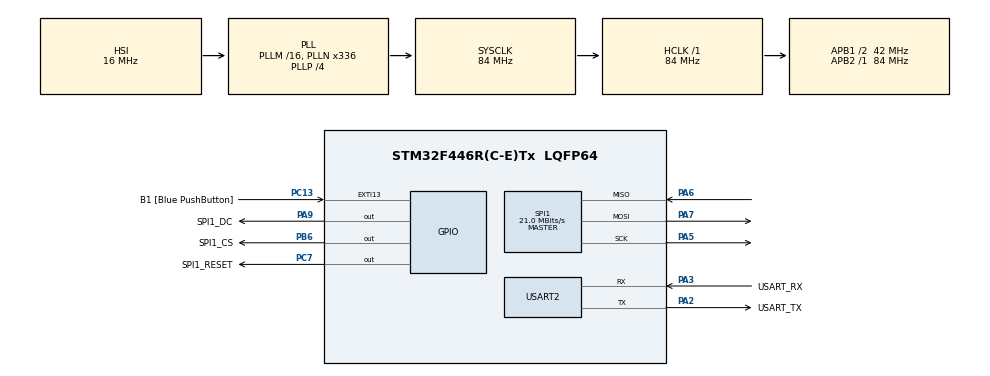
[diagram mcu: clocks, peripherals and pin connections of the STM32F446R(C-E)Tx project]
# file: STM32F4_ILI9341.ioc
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Dma.Request0=SPI1_TX
Dma.SPI1_TX.0.Direction=DMA_MEMORY_TO_PERIPH
Dma.SPI1_TX.0.FIFOMode=DMA_FIFOMODE_DISABLE
Dma.SPI1_TX.0.Instance=DMA2_Stream3
Dma.SPI1_TX.0.MemDataAlignment=DMA_MDATAALIGN_BYTE
Dma.SPI1_TX.0.MemInc=DMA_MINC_ENABLE
Dma.SPI1_TX.0.Mode=DMA_NORMAL
Dma.SPI1_TX.0.PeriphDataAlignment=DMA_PDATAALIGN_BYTE
Dma.SPI1_TX.0.PeriphInc=DMA_PINC_DISABLE
Dma.SPI1_TX.0.Priority=DMA_PRIORITY_VERY_HIGH
Mcu.Family=STM32F4
Mcu.Name=STM32F446R(C-E)Tx
Mcu.Package=LQFP64
NVIC.DMA2_Stream3_IRQn=true\:0\:0\:false\:false\:true\:false\:true\:true
NVIC.PriorityGroup=NVIC_PRIORITYGROUP_0
PA13.GPIO_Label=TMS
PA13.Mode=Serial_Wire
PA13.Signal=SYS_JTMS-SWDIO
PA14.GPIO_Label=TCK
PA14.Mode=Serial_Wire
PA14.Signal=SYS_JTCK-SWCLK
PA2.GPIO_Label=USART_TX
PA2.Mode=Asynchronous
PA2.Signal=USART2_TX
PA3.GPIO_Label=USART_RX
PA3.Mode=Asynchronous
PA3.Signal=USART2_RX
PA5.Mode=Full_Duplex_Master
PA5.Signal=SPI1_SCK
PA6.Mode=Full_Duplex_Master
PA6.Signal=SPI1_MISO
PA7.Mode=Full_Duplex_Master
PA7.Signal=SPI1_MOSI
PA9.GPIO_Label=SPI1_DC
PA9.Signal=GPIO_Output
PB3.GPIO_Label=SWO
PB3.Signal=SYS_JTDO-SWO
PB6.GPIO_Label=SPI1_CS
PB6.Signal=GPIO_Output
PC13.GPIO_Label=B1 [Blue PushButton]
PC13.GPIO_ModeDefaultEXTI=GPIO_MODE_IT_FALLING
PC13.Signal=GPXTI13
PC14-OSC32_IN.Mode=LSE-External-Oscillator
PC14-OSC32_IN.Signal=RCC_OSC32_IN
PC15-OSC32_OUT.Mode=LSE-External-Oscillator
PC15-OSC32_OUT.Signal=RCC_OSC32_OUT
PC7.GPIO_Label=SPI1_RESET
PC7.Signal=GPIO_Output
PH0-OSC_IN.Mode=HSE-External-Oscillator
PH0-OSC_IN.Signal=RCC_OSC_IN
PH1-OSC_OUT.Mode=HSE-External-Oscillator
PH1-OSC_OUT.Signal=RCC_OSC_OUT
ProjectManager.HeapSize=0x200
ProjectManager.StackSize=0x400
ProjectManager.TargetToolchain=STM32CubeIDE
RCC.48MHZClocksFreq_Value=84000000
RCC.AHBFreq_Value=84000000
RCC.APB1CLKDivider=RCC_HCLK_DIV2
RCC.APB1Freq_Value=42000000
RCC.APB1TimFreq_Value=84000000
RCC.APB2Freq_Value=84000000
RCC.APB2TimFreq_Value=84000000
RCC.CortexFreq_Value=84000000
RCC.FLatency-AdvancedSettings=FLASH_LATENCY_2
RCC.HCLKFreq_Value=84000000
RCC.HSE_VALUE=8000000
RCC.HSI_VALUE=16000000
RCC.PLLN=336
RCC.PLLP=RCC_PLLP_DIV4
RCC.SYSCLKFreq_VALUE=84000000
RCC.SYSCLKSource=RCC_SYSCLKSOURCE_PLLCLK
RCC.USBFreq_Value=168000000
RCC.VCOOutputFreq_Value=336000000
SPI1.BaudRatePrescaler=SPI_BAUDRATEPRESCALER_4
SPI1.CalculateBaudRate=21.0 MBits/s
SPI1.Direction=SPI_DIRECTION_2LINES
SPI1.Mode=SPI_MODE_MASTER
SPI1.VirtualType=VM_MASTER
USART2.VirtualMode=VM_ASYNC
board=NUCLEO-F446RE

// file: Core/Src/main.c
/* USER CODE BEGIN Header */
/**
  ******************************************************************************
  * @file           : main.c
  * @brief          : Main program body
  ******************************************************************************
  * @attention
  *
  * Copyright (c) 2023 STMicroelectronics.
  * All rights reserved.
  *
  * This software is licensed under terms that can be found in the LICENSE file
  * in the root directory of this software component.
  * If no LICENSE file comes with this software, it is provided AS-IS.
  *
  ******************************************************************************
  */
/* USER CODE END Header */
#include "main.h"
#include "dma.h"
#include "spi.h"
#include "usart.h"
#include "gpio.h"

/* USER CODE BEGIN Includes */
#include <stdio.h>
#include "graphics.h"
#include "touch.h"
/* USER CODE END Includes */

void SystemClock_Config(void);

int main(void)
{
  /* USER CODE BEGIN 1 */
//uint16_t x, y;
  /* USER CODE END 1 */

  /* MCU Configuration--------------------------------------------------------*/

  /* Reset of all peripherals, Initializes the Flash interface and the Systick. */
  HAL_Init();

  /* Configure the system clock */
  SystemClock_Config();

  /* Initialize all configured peripherals */
  MX_GPIO_Init();
  MX_DMA_Init();
  MX_USART2_UART_Init();
  MX_SPI1_Init();
  /* USER CODE BEGIN 2 */
  GraphicsInit();
//  TouchCalibrate();
  GraphicsClear(WHITE);
  /* USER CODE END 2 */

  /* Infinite loop */
  while (1)
  {

    /* USER CODE BEGIN 3 */
	  GraphicsLargeCharacter(0, 150, 'L', BLACK);
	  GraphicsLargeCharacter(10, 150, 'a', BLACK);
	  GraphicsLargeCharacter(20, 150, 'm', BLACK);
	  GraphicsLargeCharacter(30, 150, 'Q', BLACK);
	  GraphicsLargeCharacter(40, 150, 'u', BLACK);
	  GraphicsLargeCharacter(50, 150, 'a', BLACK);
	  GraphicsLargeCharacter(60, 150, 'n', BLACK);
	  GraphicsLargeCharacter(70, 150, 'g', BLACK);
	  GraphicsLargeCharacter(80, 150, 'T', BLACK);
	  GraphicsLargeCharacter(90, 150, 'r', BLACK);
	  GraphicsLargeCharacter(100, 150, 'i', BLACK);
	  GraphicsLargeString(0, 100, "Lam Quang Tri", BLACK);
//	  GraphicsFilledRectangle(50, 200, 50, 15, BLACK);

//		if (TouchIsTouched())
//		{
//		  GraphicsLargeString(50, 200, "Down", YELLOW);
//		}
//		else
//		{
//		  GraphicsLargeString(50, 200, "Up", YELLOW);
//		}
//
//		if (TouchGetCalibratedPoint(&x, &y))
//		{
//			if(x >=0 && x<=120 && y>=0 && y<=15)
//			{
//				GraphicsClear(BLUE);
//			}
//
//			char buf[20];
//			sprintf(buf, "%hd %hd", x, y);
//			GraphicsFilledRectangle(0, 0, 120, 15, BLACK);
//			GraphicsLargeString(0, 0, buf, YELLOW);
//			GraphicsFilledCircle(x, y, 3, YELLOW);
//		}
  }
  /* USER CODE END 3 */
}

void SystemClock_Config(void)
{
  RCC_OscInitTypeDef RCC_OscInitStruct = {0};
  RCC_ClkInitTypeDef RCC_ClkInitStruct = {0};

  /** Configure the main internal regulator output voltage
  */
  __HAL_RCC_PWR_CLK_ENABLE();
  __HAL_PWR_VOLTAGESCALING_CONFIG(PWR_REGULATOR_VOLTAGE_SCALE3);

  /** Initializes the RCC Oscillators according to the specified parameters
  * in the RCC_OscInitTypeDef structure.
  */
  RCC_OscInitStruct.OscillatorType = RCC_OSCILLATORTYPE_HSI;
  RCC_OscInitStruct.HSIState = RCC_HSI_ON;
  RCC_OscInitStruct.HSICalibrationValue = RCC_HSICALIBRATION_DEFAULT;
  RCC_OscInitStruct.PLL.PLLState = RCC_PLL_ON;
  RCC_OscInitStruct.PLL.PLLSource = RCC_PLLSOURCE_HSI;
  RCC_OscInitStruct.PLL.PLLM = 16;
  RCC_OscInitStruct.PLL.PLLN = 336;
  RCC_OscInitStruct.PLL.PLLP = RCC_PLLP_DIV4;
  RCC_OscInitStruct.PLL.PLLQ = 2;
  RCC_OscInitStruct.PLL.PLLR = 2;
  if (HAL_RCC_OscConfig(&RCC_OscInitStruct) != HAL_OK)
  {
    Error_Handler();
  }

  /** Initializes the CPU, AHB and APB buses clocks
  */
  RCC_ClkInitStruct.ClockType = RCC_CLOCKTYPE_HCLK|RCC_CLOCKTYPE_SYSCLK
                              |RCC_CLOCKTYPE_PCLK1|RCC_CLOCKTYPE_PCLK2;
  RCC_ClkInitStruct.SYSCLKSource = RCC_SYSCLKSOURCE_PLLCLK;
  RCC_ClkInitStruct.AHBCLKDivider = RCC_SYSCLK_DIV1;
  RCC_ClkInitStruct.APB1CLKDivider = RCC_HCLK_DIV2;
  RCC_ClkInitStruct.APB2CLKDivider = RCC_HCLK_DIV1;

  if (HAL_RCC_ClockConfig(&RCC_ClkInitStruct, FLASH_LATENCY_2) != HAL_OK)
  {
    Error_Handler();
  }
}

void Error_Handler(void)
{
  __disable_irq();
  while (1)
  {
  }
}
